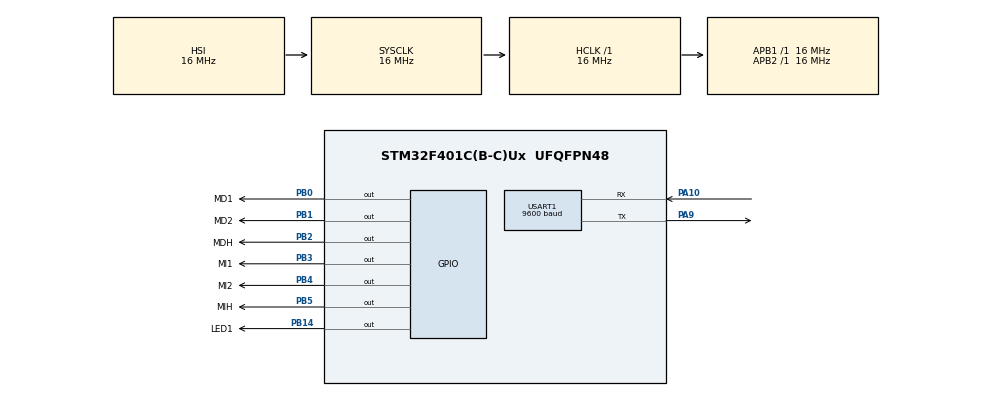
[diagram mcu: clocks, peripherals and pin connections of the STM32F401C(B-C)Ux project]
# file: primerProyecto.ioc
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Mcu.Family=STM32F4
Mcu.Name=STM32F401C(B-C)Ux
Mcu.Package=UFQFPN48
NVIC.PriorityGroup=NVIC_PRIORITYGROUP_4
PA10.Mode=Asynchronous
PA10.Signal=USART1_RX
PA9.Mode=Asynchronous
PA9.Signal=USART1_TX
PB0.GPIO_Label=MD1
PB0.Signal=GPIO_Output
PB1.GPIO_Label=MD2
PB1.Signal=GPIO_Output
PB14.GPIO_Label=LED1
PB14.Signal=GPIO_Output
PB2.GPIO_Label=MDH
PB2.Signal=GPIO_Output
PB3.GPIO_Label=MI1
PB3.Signal=GPIO_Output
PB4.GPIO_Label=MI2
PB4.Signal=GPIO_Output
PB5.GPIO_Label=MIH
PB5.Signal=GPIO_Output
ProjectManager.HeapSize=0x200
ProjectManager.StackSize=0x400
ProjectManager.TargetToolchain=STM32CubeIDE
RCC.AHBFreq_Value=16000000
RCC.APB1Freq_Value=16000000
RCC.APB2Freq_Value=16000000
RCC.CortexFreq_Value=16000000
RCC.HSE_VALUE=25000000
RCC.HSI_VALUE=16000000
RCC.LSE_VALUE=32768
RCC.SYSCLKFreq_VALUE=16000000
RCC.VCOOutputFreq_Value=192000000
USART1.BaudRate=9600
USART1.VirtualMode=VM_ASYNC
board=custom

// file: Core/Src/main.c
/* USER CODE BEGIN Header */
/**
  ******************************************************************************
  * @file           : main.c
  * @brief          : Main program body
  ******************************************************************************
  * @attention
  *
  * Copyright (c) 2024 STMicroelectronics.
  * All rights reserved.
  *
  * This software is licensed under terms that can be found in the LICENSE file
  * in the root directory of this software component.
  * If no LICENSE file comes with this software, it is provided AS-IS.
  *
  ******************************************************************************
  */
/* USER CODE END Header */
#include "main.h"

/* USER CODE BEGIN Includes */

#include "uart.h"
#include "stdio.h"
#include "stdint.h"
#include "stdlib.h"
#include "string.h"

/* USER CODE END Includes */

UART_HandleTypeDef huart1;

/* USER CODE BEGIN PV */
char Trama_RX [50];
/* USER CODE END PV */

void SystemClock_Config(void);
static void MX_GPIO_Init(void);
static void MX_USART1_UART_Init(void);

/* USER CODE BEGIN 0 */
void adelante(){
	HAL_GPIO_WritePin(MI1_GPIO_Port,MI1_Pin,1);
	HAL_GPIO_WritePin(MI2_GPIO_Port,MI2_Pin,0);

	HAL_GPIO_WritePin(MD1_GPIO_Port,MD1_Pin,0);
	HAL_GPIO_WritePin(MD2_GPIO_Port,MD2_Pin,1);

	HAL_GPIO_WritePin(MIH_GPIO_Port,MIH_Pin,1);
	HAL_GPIO_WritePin(MDH_GPIO_Port,MDH_Pin,1);
}

void derecha(){
	HAL_GPIO_WritePin(MI1_GPIO_Port,MI1_Pin,0);
	HAL_GPIO_WritePin(MI2_GPIO_Port,MI2_Pin,1);

	HAL_GPIO_WritePin(MD1_GPIO_Port,MD1_Pin,0);
	HAL_GPIO_WritePin(MD2_GPIO_Port,MD2_Pin,1);

	HAL_GPIO_WritePin(MIH_GPIO_Port,MIH_Pin,1);
	HAL_GPIO_WritePin(MDH_GPIO_Port,MDH_Pin,1);
}
void izquierda(){
	HAL_GPIO_WritePin(MI1_GPIO_Port,MI1_Pin,1);
	HAL_GPIO_WritePin(MI2_GPIO_Port,MI2_Pin,0);

	HAL_GPIO_WritePin(MD1_GPIO_Port,MD1_Pin,1);
	HAL_GPIO_WritePin(MD2_GPIO_Port,MD2_Pin,0);

	HAL_GPIO_WritePin(MIH_GPIO_Port,MIH_Pin,1);
	HAL_GPIO_WritePin(MDH_GPIO_Port,MDH_Pin,1);
}
void reversa(){
	HAL_GPIO_WritePin(MI1_GPIO_Port,MI1_Pin,0);
	HAL_GPIO_WritePin(MI2_GPIO_Port,MI2_Pin,1);

	HAL_GPIO_WritePin(MD1_GPIO_Port,MD1_Pin,1);
	HAL_GPIO_WritePin(MD2_GPIO_Port,MD2_Pin,0);

	HAL_GPIO_WritePin(MIH_GPIO_Port,MIH_Pin,1);
	HAL_GPIO_WritePin(MDH_GPIO_Port,MDH_Pin,1);
}
void parar(){
	HAL_GPIO_WritePin(MI1_GPIO_Port,MI1_Pin,0);
	HAL_GPIO_WritePin(MI2_GPIO_Port,MI2_Pin,1);

	HAL_GPIO_WritePin(MD1_GPIO_Port,MD1_Pin,1);
	HAL_GPIO_WritePin(MD2_GPIO_Port,MD2_Pin,0);

	HAL_GPIO_WritePin(MIH_GPIO_Port,MIH_Pin,0);
	HAL_GPIO_WritePin(MDH_GPIO_Port,MDH_Pin,0);
}

void Procesa_RX(){
	if (strstr(Trama_RX,"DER")) derecha();
	else if (strstr(Trama_RX,"IZQ")) izquierda();
	else if (strstr(Trama_RX,"PAR")) parar();
	else if (strstr(Trama_RX,"DEL")) reversa();
	else if (strstr(Trama_RX,"ATRAS")) adelante();
	else if (strstr(Trama_RX,"LED1="))
	{
		if (strstr(Trama_RX,"ON")) HAL_GPIO_WritePin(LED1_GPIO_Port, LED1_Pin, 1);
		else HAL_GPIO_WritePin(LED1_GPIO_Port, LED1_Pin, 0);

	}

}
/* USER CODE END 0 */

int main(void)
{

  /* MCU Configuration--------------------------------------------------------*/

  /* Reset of all peripherals, Initializes the Flash interface and the Systick. */
  HAL_Init();

  /* Configure the system clock */
  SystemClock_Config();

  /* Initialize all configured peripherals */
  MX_GPIO_Init();
  MX_USART1_UART_Init();

  /* Infinite loop */
  /* USER CODE BEGIN WHILE */
  while (1)
  {
	  /*
	  adelante();
	  HAL_Delay(1000);
	  derecha();
	  HAL_Delay(1000);
	  izquierda();
	  HAL_Delay(1000);
	  reversa();
	  HAL_Delay(1000);
	  parar();
	  HAL_Delay(1000);*/

	  uartx_read_text(&huart1, Trama_RX, '*', 50);
	  //derecha();
	  Procesa_RX();
    /* USER CODE END WHILE */

  }
}

void SystemClock_Config(void)
{
  RCC_OscInitTypeDef RCC_OscInitStruct = {0};
  RCC_ClkInitTypeDef RCC_ClkInitStruct = {0};

  /** Configure the main internal regulator output voltage
  */
  __HAL_RCC_PWR_CLK_ENABLE();
  __HAL_PWR_VOLTAGESCALING_CONFIG(PWR_REGULATOR_VOLTAGE_SCALE2);

  /** Initializes the RCC Oscillators according to the specified parameters
  * in the RCC_OscInitTypeDef structure.
  */
  RCC_OscInitStruct.OscillatorType = RCC_OSCILLATORTYPE_HSI;
  RCC_OscInitStruct.HSIState = RCC_HSI_ON;
  RCC_OscInitStruct.HSICalibrationValue = RCC_HSICALIBRATION_DEFAULT;
  RCC_OscInitStruct.PLL.PLLState = RCC_PLL_NONE;
  if (HAL_RCC_OscConfig(&RCC_OscInitStruct) != HAL_OK)
  {
    Error_Handler();
  }

  /** Initializes the CPU, AHB and APB buses clocks
  */
  RCC_ClkInitStruct.ClockType = RCC_CLOCKTYPE_HCLK|RCC_CLOCKTYPE_SYSCLK
                              |RCC_CLOCKTYPE_PCLK1|RCC_CLOCKTYPE_PCLK2;
  RCC_ClkInitStruct.SYSCLKSource = RCC_SYSCLKSOURCE_HSI;
  RCC_ClkInitStruct.AHBCLKDivider = RCC_SYSCLK_DIV1;
  RCC_ClkInitStruct.APB1CLKDivider = RCC_HCLK_DIV1;
  RCC_ClkInitStruct.APB2CLKDivider = RCC_HCLK_DIV1;

  if (HAL_RCC_ClockConfig(&RCC_ClkInitStruct, FLASH_LATENCY_0) != HAL_OK)
  {
    Error_Handler();
  }
}

static void MX_USART1_UART_Init(void)
{

  huart1.Instance = USART1;
  huart1.Init.BaudRate = 9600;
  huart1.Init.WordLength = UART_WORDLENGTH_8B;
  huart1.Init.StopBits = UART_STOPBITS_1;
  huart1.Init.Parity = UART_PARITY_NONE;
  huart1.Init.Mode = UART_MODE_TX_RX;
  huart1.Init.HwFlowCtl = UART_HWCONTROL_NONE;
  huart1.Init.OverSampling = UART_OVERSAMPLING_16;
  if (HAL_UART_Init(&huart1) != HAL_OK)
  {
    Error_Handler();
  }

}

static void MX_GPIO_Init(void)
{
  GPIO_InitTypeDef GPIO_InitStruct = {0};

  /* GPIO Ports Clock Enable */
  __HAL_RCC_GPIOB_CLK_ENABLE();
  __HAL_RCC_GPIOA_CLK_ENABLE();

  /*Configure GPIO pin Output Level */
  HAL_GPIO_WritePin(GPIOB, MD1_Pin|MD2_Pin|MDH_Pin|LED1_Pin
                          |MI1_Pin|MI2_Pin|MIH_Pin, GPIO_PIN_RESET);

  /*Configure GPIO pins : MD1_Pin MD2_Pin MDH_Pin LED1_Pin
                           MI1_Pin MI2_Pin MIH_Pin */
  GPIO_InitStruct.Pin = MD1_Pin|MD2_Pin|MDH_Pin|LED1_Pin
                          |MI1_Pin|MI2_Pin|MIH_Pin;
  GPIO_InitStruct.Mode = GPIO_MODE_OUTPUT_PP;
  GPIO_InitStruct.Pull = GPIO_NOPULL;
  GPIO_InitStruct.Speed = GPIO_SPEED_FREQ_LOW;
  HAL_GPIO_Init(GPIOB, &GPIO_InitStruct);

}

void Error_Handler(void)
{
  __disable_irq();
  while (1)
  {
  }
}
